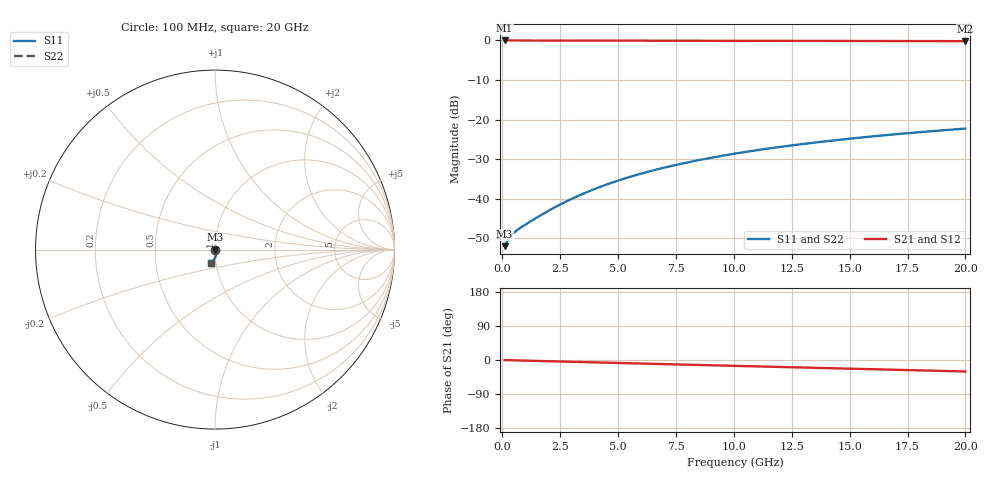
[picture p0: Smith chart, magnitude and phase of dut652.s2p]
! Touchstone file exported from HFSS 2026.1.0
!  File:  C:/ffzhzh/LocalFiles/Ansys_Project_Files/temp_train_BSMRDL_652_1783016998_46388.aedt
!  Generated:  02:31:19 AM Jul  3, 2026
!  Design:  BSMRDL
!  Project:  temp_train_BSMRDL_652_1783016998_46388
! Variables:
!  h_bsmrdl = 4.57um
!  h_ox = 20um
!  h_rdl = 5um
!  h_sub = 80um
!  h_tmrdl = 5um
!  h_tsv = 80um
!  h_via = 3um
!  l_bsmrdl = 539.78um
!  l_sub = 939.78um
!  l_tmrdl = 200um
!  m_sub = 200um
!  pitch = 21.54um
!  r_tsv = 6um
!  s_tmrdl = 10um
!  w_bsmrdl = 18.47um
!  w_sub = 500um
!  w_tmrdl = 12um
!  x_tsv_center1 = 206um
!  x_tsv_center2 = 764.25um
!  x_tsv_center3 = 976.25um
!  x_tsv_center4 = 1534.5um
!  x_tsv_center5 = 1746.5um
!  x_tsv_center6 = 2304.75um
# GHz S MA R 50.000000
! Terminal data exported
! Port[1] = BSM_RDL1_1_T1
! Port[2] = BSM_RDL1_1_T2
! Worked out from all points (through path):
!   200 points, 100 MHz to 20 GHz, reference 50 ohm
!   highest |S21| = -0.02 dB at 100 MHz (marker M1); lowest = -0.2 dB at 20 GHz (marker M2)
!   group delay of S21, straight-line fit = 4.18 ps
!   lowest |S11| = -52.0 dB at 100 MHz (marker M3), VSWR 1.01, Z = 50.3 + j0.0254 ohm
!   |S11| at or under -10 dB: start of sweep to end of sweep
!   |S22| runs from -52.0 to -22.3 dB; largest |S21 - S12| = 4.1e-15
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0.1  0.002516 5.8  0.9975 -0.2  0.9975 -0.2  0.002516 5.8
! Gamma 0 0 0 0
! Port Impedance 50 0 50 0
0.2  0.002856 6.4  0.9972 -0.4  0.9972 -0.4  0.002856 6.4
0.3  0.003197 3.3  0.9968 -0.5  0.9968 -0.5  0.003197 3.3
0.4  0.003484 -1.2  0.9965 -0.7  0.9965 -0.7  0.003484 -1.2
0.6  0.003935 -10.5  0.9961 -1.0  0.9961 -1.0  0.003935 -10.5
0.8  0.004325 -18.6  0.9959 -1.3  0.9959 -1.3  0.004324 -18.6
1.5  0.005798 -38.3  0.9953 -2.4  0.9953 -2.4  0.005797 -38.3
2.2  0.007598 -49.6  0.9947 -3.5  0.9947 -3.5  0.007595 -49.6
2.8  0.009355 -55.8  0.9941 -4.5  0.9941 -4.5  0.009351 -55.8
3.5  0.0116 -61.0  0.9934 -5.6  0.9934 -5.6  0.0116 -61.0
4.2  0.01402 -65.0  0.9926 -6.6  0.9926 -6.6  0.01401 -65.0
5  0.01694 -68.7  0.9916 -7.9  0.9916 -7.9  0.01692 -68.8
5.9  0.02037 -72.3  0.9906 -9.2  0.9906 -9.2  0.02036 -72.4
6.8  0.02392 -75.5  0.9896 -10.6  0.9896 -10.6  0.0239 -75.6
7.6  0.02713 -78.1  0.9887 -11.8  0.9887 -11.8  0.02711 -78.2
8.4  0.03038 -80.5  0.9879 -13.0  0.9879 -13.0  0.03035 -80.6
10.1  0.03734 -85.2  0.9862 -15.6  0.9862 -15.6  0.0373 -85.3
11.7  0.0439 -89.2  0.9848 -18.0  0.9848 -18.0  0.04385 -89.3
13.4  0.05083 -93.1  0.9833 -20.5  0.9833 -20.5  0.05078 -93.2
15  0.0573 -96.6  0.9819 -22.9  0.9819 -22.9  0.05723 -96.6
16.7  0.06408 -100.0  0.9804 -25.4  0.9804 -25.4  0.06401 -100.1
20  0.07692 -106.3  0.9775 -30.3  0.9775 -30.3  0.07682 -106.4
